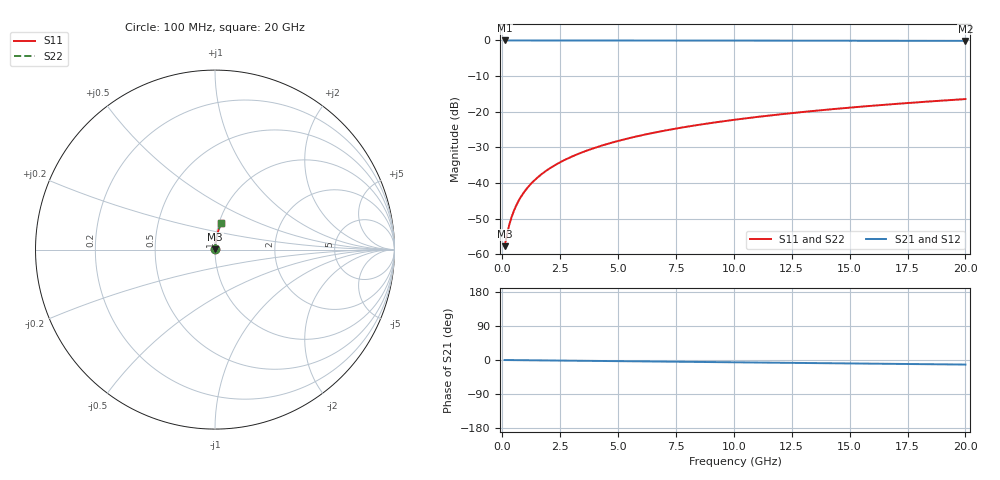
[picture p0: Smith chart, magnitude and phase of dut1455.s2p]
! Touchstone file exported from HFSS 2026.1.0
!  File:  C:/ffzhzh/LocalFiles/Ansys_Project_Files/temp_train_TSV_1455_1783197984_51560.aedt
!  Generated:  04:48:39 AM Jul  5, 2026
!  Design:  TSV
!  Project:  temp_train_TSV_1455_1783197984_51560
! Variables:
!  h_bsmrdl = 2um
!  h_ox = 20um
!  h_rdl = 5um
!  h_sub = 75.45um
!  h_tmrdl = 5um
!  h_tsv = 75.45um
!  h_via = 3um
!  l_bsmrdl = 300um
!  l_sub = 405.84um
!  l_tmrdl = 200um
!  m_sub = 200um
!  pitch = 59.24um
!  r_tsv = 2.92um
!  s_tmrdl = 10um
!  w_bsmrdl = 18um
!  w_sub = 500um
!  w_tmrdl = 12um
!  x_tsv_center1 = 206um
!  x_tsv_center2 = 524um
!  x_tsv_center3 = 736um
!  x_tsv_center4 = 1054um
!  x_tsv_center5 = 1266um
!  x_tsv_center6 = 1584um
# GHz S MA R 50.000000
! Terminal data exported
! Port[1] = TSV1_1_T1
! Port[2] = TSV1_1_T2
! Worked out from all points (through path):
!   200 points, 100 MHz to 20 GHz, reference 50 ohm
!   highest |S21| = -0.01 dB at 100 MHz (marker M1); lowest = -0.1 dB at 20 GHz (marker M2)
!   group delay of S21, straight-line fit = 1.67 ps
!   lowest |S11| = -57.7 dB at 100 MHz (marker M3), VSWR 1.00, Z = 50.1 + j0.0793 ohm
!   |S11| at or under -10 dB: start of sweep to end of sweep
!   |S22| runs from -57.7 to -16.4 dB; largest |S21 - S12| = 2.5e-15
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0.1  0.001304 37.4  0.999 -0.1  0.999 -0.1  0.001304 37.4
! Gamma 0 0 0 0
! Port Impedance 50 0 50 0
0.2  0.001895 56.5  0.999 -0.1  0.999 -0.1  0.001895 56.5
0.3  0.002592 65.9  0.9989 -0.2  0.9989 -0.2  0.002592 65.9
0.4  0.003327 71.2  0.9989 -0.2  0.9989 -0.2  0.003327 71.2
0.5  0.004079 74.6  0.9989 -0.3  0.9989 -0.3  0.004079 74.6
0.6  0.004839 76.9  0.9989 -0.4  0.9989 -0.4  0.004839 76.9
0.8  0.006375 79.8  0.9989 -0.5  0.9989 -0.5  0.006375 79.8
1.1  0.008696 82.1  0.9989 -0.7  0.9989 -0.7  0.008696 82.1
1.5  0.0118 83.6  0.9988 -0.9  0.9988 -0.9  0.0118 83.6
1.8  0.01414 84.3  0.9988 -1.1  0.9988 -1.1  0.01414 84.3
2.1  0.01647 84.7  0.9987 -1.3  0.9987 -1.3  0.01647 84.7
2.7  0.02114 85.0  0.9986 -1.7  0.9986 -1.7  0.02114 85.0
3.5  0.02736 85.1  0.9983 -2.2  0.9983 -2.2  0.02736 85.1
4.2  0.03278 85.0  0.9981 -2.6  0.9981 -2.6  0.03278 85.0
5  0.03895 84.7  0.9978 -3.1  0.9978 -3.1  0.03895 84.7
5.9  0.04587 84.4  0.9973 -3.6  0.9973 -3.6  0.04587 84.4
6.8  0.05275 83.9  0.9969 -4.2  0.9969 -4.2  0.05275 83.9
8.3  0.06416 83.2  0.996 -5.1  0.996 -5.1  0.06416 83.2
10.1  0.07774 82.2  0.9948 -6.2  0.9948 -6.2  0.07774 82.2
13.4  0.1024 80.4  0.9921 -8.1  0.9921 -8.1  0.1024 80.4
16.7  0.1267 78.6  0.989 -10.1  0.989 -10.1  0.1267 78.6
20  0.1506 76.7  0.9854 -12.0  0.9854 -12.0  0.1506 76.7
